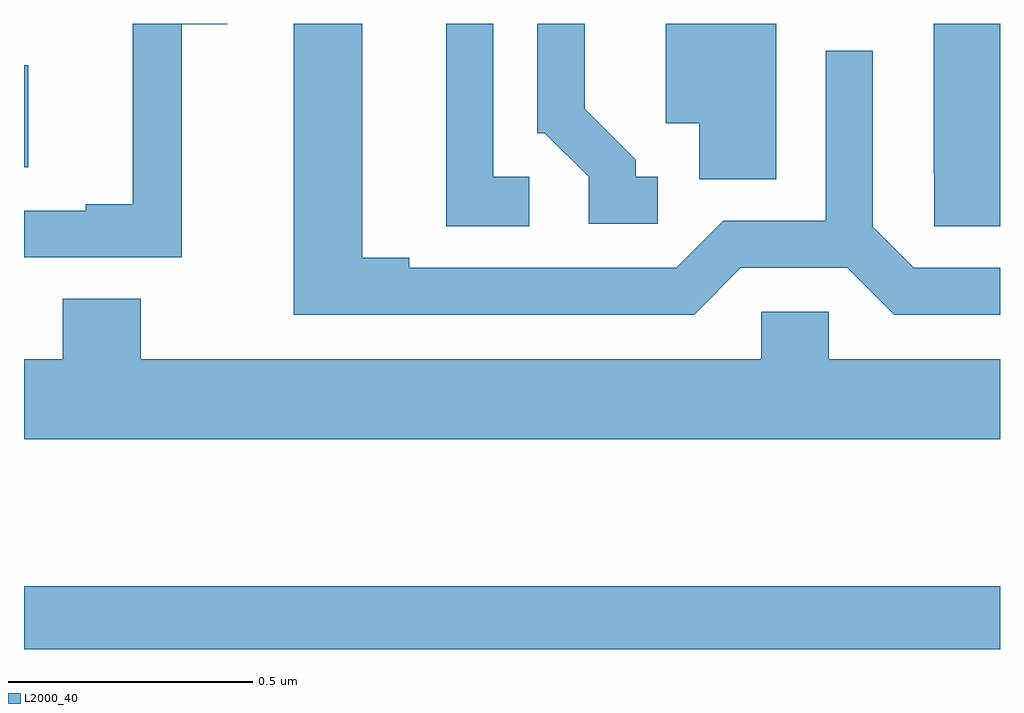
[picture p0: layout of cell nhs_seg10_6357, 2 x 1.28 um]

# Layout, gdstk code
import gdstk
lib = gdstk.Library(unit=1e-6, precision=1e-09)
def R(c, l, rs):  # rectangles x0, y0, x1, y1
    for r in rs: c.add(gdstk.rectangle(r[:2], r[2:], *l))
def P(c, l, *ps):  # polygons
    for p in ps: c.add(gdstk.Polygon(p, *l))
L2000_40 = (2000, 40)

nhs_seg10_6357 = lib.new_cell('nhs_seg10_6357')
R(nhs_seg10_6357, L2000_40, [(190,1301.218,192,1301.347), (190,1302.206,190.009,1302.415)])
P(nhs_seg10_6357, L2000_40, [(191.469,1302),(191.687,1302),(191.783,1301.904),(192,1301.904),(192,1302),(191.823,1302),(191.739,1302.084),(191.739,1302.445),(191.643,1302.445),(191.643,1302.096),(191.433,1302.096),(191.337,1302),(190.789,1302),(190.789,1302.02),(190.693,1302.02),(190.693,1302.5),(190.553,1302.5),(190.553,1301.904),(191.373,1301.904)],
  [(191.299,1302.186),(191.254,1302.186),(191.254,1302.221),(191.149,1302.326),(191.149,1302.5),(191.052,1302.5),(191.052,1302.276),(191.067,1302.276),(191.157,1302.186),(191.157,1302.09),(191.299,1302.09)],
  [(190.323,1302.499),(190.417,1302.499),(190.417,1302.5),(190.223,1302.5),(190.223,1302.13),(190.127,1302.13),(190.127,1302.117),(190,1302.117),(190,1302.021),(190.323,1302.021)],
  [(191.035,1302.186),(190.962,1302.186),(190.962,1302.5),(190.865,1302.5),(190.865,1302.085),(191.035,1302.085)],
  [(192,1302.5),(191.864,1302.5),(191.864,1302.193),(191.865,1302.193),(191.865,1302.085),(192,1302.085)],
  [(191.542,1302.5),(191.315,1302.5),(191.315,1302.296),(191.384,1302.296),(191.384,1302.181),(191.542,1302.181)],
  [(192,1301.812),(191.649,1301.812),(191.649,1301.91),(191.511,1301.91),(191.511,1301.812),(190.239,1301.812),(190.239,1301.936),(190.079,1301.936),(190.079,1301.812),(190,1301.812),(190,1301.648),(192,1301.648)])

lib.write_gds('nhs_seg10_6357.gds')
